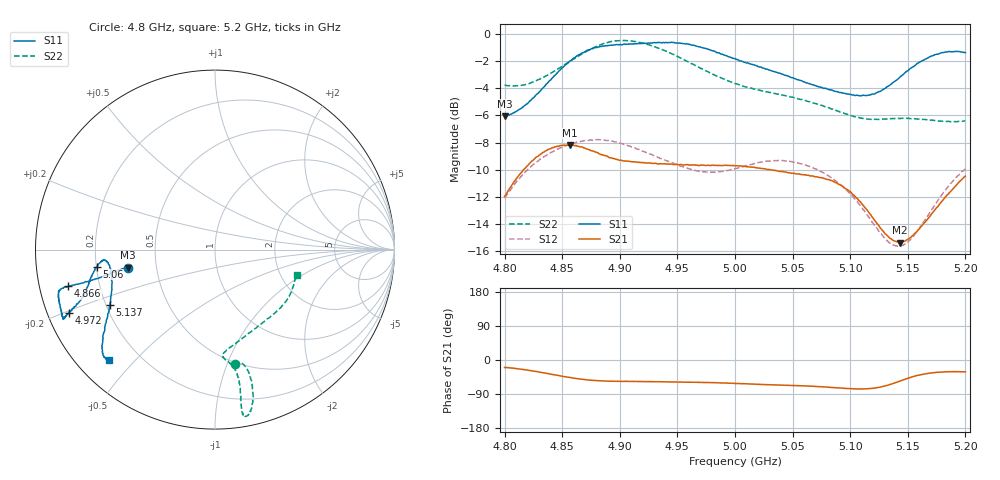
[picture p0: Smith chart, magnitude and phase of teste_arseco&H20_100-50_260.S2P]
! Network Analyzer HP8722D
! Hewlett-Packard
! Data name: Linha & Wilkinson
! Saver's name: Rodrigo Anjos
! Comments: Teste da utilização de aquisição
! continua pelo VNA HP8722D
! Time and date: 6/5/2025 14:44
!  Frequency  S11  S21  S12  S22
# HZ  S  MA R 50
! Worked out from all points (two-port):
!   401 points, 4.8 GHz to 5.2 GHz, reference 50 ohm
!   highest |S21| = -8.17 dB at 4.857 GHz (marker M1); lowest = -15.4 dB at 5.143 GHz (marker M2)
!   |S21| within 3 dB of the highest: 4.806 GHz to 5.093 GHz (286.9 MHz wide, 5.8 % of centre); 5.19163 GHz to end of sweep
!   lowest |S11| = -6.1 dB at 4.8 GHz (marker M3), VSWR 2.97, Z = 17 - j4.57 ohm
!   |S11| at or under -10 dB: nowhere
!   |S22| runs from -6.5 to -0.5 dB; largest |S21 - S12| = 0.62
!   S11 on the Smith chart (normalised r, x): 4.8 GHz: 0.34, -0.09; 4.866 GHz: 0.09, -0.12; 4.972 GHz: 0.06, -0.21; 5.06 GHz: 0.20, -0.07; 5.137 GHz: 0.22, -0.24; 5.2 GHz: 0.09, -0.43
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4.8e9  0.4967 -168.2  0.2522 -19.7  0.2486 -140.9  0.6485 -80.3
4.828e9  0.6005 -167.1  0.3533 -30.6  0.3386 -144.9  0.6744 -75.4
4.857e9  0.7953 -165.9  0.3903 -46.3  0.3928 -150.3  0.7928 -74.7
4.866e9  0.8427 -165.9  0.3839 -50.3  0.4023 -152.0  0.8378 -75.3
4.867e9  0.8501 -165.8  0.3844 -50.8  0.4024 -152.0  0.8434 -75.4
4.883e9  0.8986 -165.0  0.361 -55.1  0.4081 -154.8  0.9105 -77.1
4.901e9  0.9128 -162.4  0.3432 -56.3  0.3956 -156.8  0.9445 -79.3
4.934e9  0.9294 -156.4  0.3328 -57.5  0.3504 -155.7  0.8834 -80.5
4.949e9  0.9249 -155.4  0.3313 -57.9  0.3313 -153.1  0.8305 -80.1
4.972e9  0.8875 -156.5  0.3297 -59.0  0.3112 -146.2  0.7401 -79.7
5e9  0.8101 -159.0  0.3272 -61.8  0.3195 -137.3  0.6564 -81.3
5.036e9  0.7229 -165.8  0.3139 -66.0  0.342 -134.4  0.6016 -85.6
5.06e9  0.6655 -171.8  0.303 -68.1  0.3304 -136.1  0.571 -84.2
5.067e9  0.6498 -173.0  0.3005 -69.2  0.3227 -136.8  0.559 -82.6
5.083e9  0.6216 -174.6  0.289 -72.4  0.2973 -138.2  0.5313 -76.8
5.103e9  0.5956 -171.5  0.2556 -76.0  0.2501 -138.7  0.497 -65.3
5.134e9  0.6459 -154.4  0.178 -65.2  0.1705 -120.7  0.4876 -43.3
5.137e9  0.6607 -152.3  0.1743 -62.3  0.1676 -116.9  0.4883 -41.5
5.143e9  0.6916 -149.3  0.1705 -55.9  0.1658 -108.9  0.4881 -37.9
5.154e9  0.7546 -144.6  0.1811 -44.5  0.1792 -95.0  0.4892 -32.3
5.173e9  0.8362 -138.9  0.2239 -33.3  0.2334 -80.8  0.4804 -24.3
5.2e9  0.8527 -133.6  0.2999 -31.4  0.319 -76.9  0.4772 -17.5
